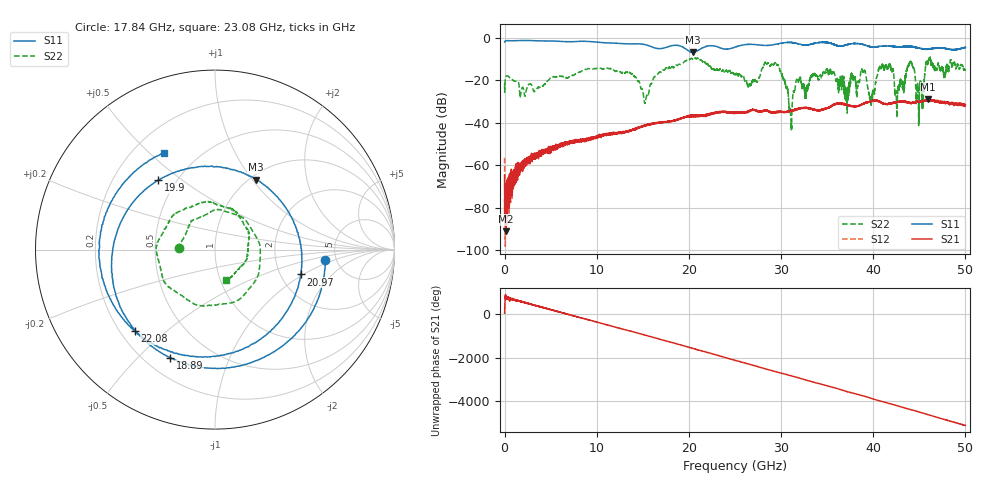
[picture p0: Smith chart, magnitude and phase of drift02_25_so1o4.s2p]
!Created with skrf (http://scikit-rf.org).
# Hz S RI R 50.0
!freq ReS11 ImS11 ReS21 ImS21 ReS12 ImS12 ReS22 ImS22
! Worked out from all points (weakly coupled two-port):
!   10001 points, 300 kHz to 50 GHz, reference 50 ohm
!   highest |S21| = -29.11 dB at 45.98 GHz (marker M1); lowest = -91.2 dB at 150.3 MHz (marker M2)
!   lowest |S11| = -6.9 dB at 20.4 GHz (marker M3), VSWR 2.64, Z = 53.2 + j51.9 ohm
!   |S11| at or under -10 dB: nowhere
!   |S22| runs from -44.0 to -9.1 dB; largest |S21 - S12| = 0.0033
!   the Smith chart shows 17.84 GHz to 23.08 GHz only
!   S11 on the Smith chart (normalised r, x): 17.84 GHz: 4.07, -0.75; 18.89 GHz: 0.30, -0.63; 19.9 GHz: 0.40, +0.41; 20.97 GHz: 2.57, -0.95; 22.08 GHz: 0.26, -0.39; 23.08 GHz: 0.32, +0.56
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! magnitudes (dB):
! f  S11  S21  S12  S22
! 300 kHz  -2.1  -64.8  -56.6  -21.7
! 150.3 MHz  -1.5  -91.2  -79.7  -18.2
! 8.335 GHz  -1.7  -48.8  -48.7  -15.7
! 15.32 GHz  -3.4  -41.4  -41.5  -29.3
! 16.67 GHz  -5.2  -40.1  -40.1  -16.9
! 17.84 GHz  -4.2  -39.4  -39.5  -14.0
! 18.89 GHz  -3.7  -38.4  -38.4  -12.6
! 19.9 GHz  -6.0  -36.9  -37.2  -10.2
! 20.4 GHz  -6.9  -37.0  -36.8  -9.9
! 20.97 GHz  -6.1  -37.1  -36.5  -9.8
! 22.08 GHz  -3.9  -36.3  -36.3  -12.9
! 23.08 GHz  -4.3  -35.4  -35.3  -14.9
! 25 GHz  -4.5  -35.3  -35.3  -17.5
! 29.5 GHz  -3.1  -35.0  -35.2  -12.6
! 31.04 GHz  -2.3  -34.6  -34.6  -35.2
! 33.34 GHz  -3.0  -33.5  -33.5  -18.1
! 38.91 GHz  -3.2  -31.2  -31.2  -16.3
! 39.74 GHz  -4.3  -30.0  -30.0  -29.6
! 41.67 GHz  -4.0  -31.2  -31.0  -13.4
! 45.15 GHz  -5.1  -30.0  -30.2  -20.9
! 45.98 GHz  -5.5  -29.1  -29.4  -10.8
! 50 GHz  -4.6  -31.8  -31.5  -15.5
